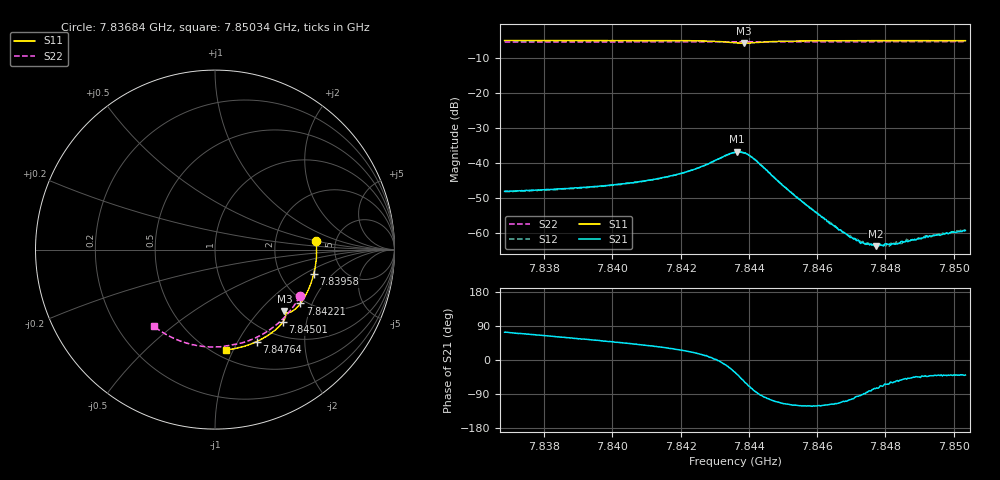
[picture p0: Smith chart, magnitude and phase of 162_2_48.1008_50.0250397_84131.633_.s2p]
#  HZ  S  RI  R  50.00
! Rohde & Schwarz Vector Network Analyzer
! Rohde-Schwarz,ZNB20-2Port,1311601062101988,3.16
! Created: UTC 12/23/2023, 3:50:51 AM
! freq[Hz]  re:S11  im:S11  re:S21  im:S21  re:S12  im:S12  re:S22  im:S22
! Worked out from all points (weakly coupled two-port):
!   401 points, 7.83684 GHz to 7.85034 GHz, reference 50 ohm
!   highest |S21| = -36.77 dB at 7.84366 GHz (marker M1); lowest = -63.8 dB at 7.84771 GHz (marker M2)
!   lowest |S11| = -5.7 dB at 7.84386 GHz (marker M3), VSWR 3.14, Z = 74.2 - j69.5 ohm
!   |S11| at or under -10 dB: nowhere
!   |S22| runs from -5.4 to -5.3 dB; largest |S21 - S12| = 0.0003
!   S11 on the Smith chart (normalised r, x): 7.83684 GHz: 3.54, +0.48; 7.83958 GHz: 3.08, -1.22; 7.84221 GHz: 1.87, -1.64; 7.84501 GHz: 1.26, -1.47; 7.84764 GHz: 0.80, -1.20; 7.85034 GHz: 0.57, -0.93
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7.836841e9  0.5642 0.0462  0.00114 0.00377  0.00113 0.00369  0.4723 -0.2605
7.839103e9  0.5571 -0.1038  0.00255 0.00366  0.00251 0.00363  0.3775 -0.3866
7.839575e9  0.5506 -0.1347  0.00286 0.00365  0.00288 0.00359  0.3529 -0.4094
7.841365e9  0.5077 -0.2491  0.00495 0.00343  0.00491 0.00341  0.2496 -0.48
7.842208e9  0.4756 -0.3002  0.00701 0.00294  0.00696 0.00295  0.1958 -0.5047
7.843592e9  0.3911 -0.3498  0.0119 -0.00761  0.0121 -0.00774  0.1029 -0.5291
7.84366e9  0.3885 -0.348  0.0114 -0.00901  0.0113 -0.00888  0.0985 -0.5299
7.843862e9  0.3869 -0.3433  0.00759 -0.0117  0.00766 -0.0116  0.0859 -0.5322
7.844166e9  0.3937 -0.3497  0.0016 -0.0112  0.00182 -0.0112  0.0662 -0.536
7.84501e9  0.3774 -0.4044  -0.00199 -0.00425  -0.00196 -0.00431  0.00734 -0.5426
7.845854e9  0.3356 -0.4483  -0.00116 -0.00184  -0.00111 -0.00185  -0.0522 -0.5409
7.84636e9  0.3076 -0.4697  -0.00063 -0.00122  -0.000678 -0.00126  -0.0876 -0.5368
7.847002e9  0.2707 -0.493  -0.000206 -0.000848  -0.00021 -0.000848  -0.1317 -0.5281
7.847306e9  0.2526 -0.5029  -2.11e-05 -0.000725  -4.99e-05 -0.000731  -0.1523 -0.5226
7.847643e9  0.2321 -0.5128  0.000152 -0.000659  0.000135 -0.000676  -0.1751 -0.5158
7.847711e9  0.2279 -0.5148  0.000165 -0.000626  0.000178 -0.00067  -0.1797 -0.5144
7.848116e9  0.2028 -0.5252  0.000321 -0.000617  0.000317 -0.000566  -0.2062 -0.5045
7.848487e9  0.1796 -0.5335  0.000468 -0.0006  0.000443 -0.000554  -0.2301 -0.4941
7.84869e9  0.1666 -0.5377  0.000508 -0.000575  0.000519 -0.000581  -0.243 -0.4882
7.848858e9  0.1558 -0.541  0.000566 -0.000576  0.000559 -0.00059  -0.2534 -0.4829
7.849196e9  0.134 -0.5467  0.000657 -0.00062  0.000653 -0.00064  -0.2744 -0.4716
7.850344e9  0.0588 -0.5594  0.000834 -0.000692  0.000838 -0.000744  -0.341 -0.4269
